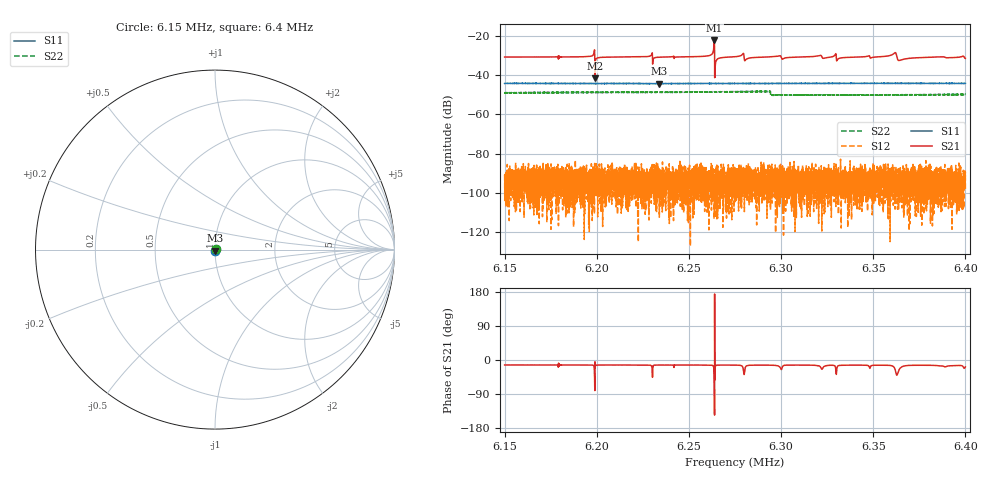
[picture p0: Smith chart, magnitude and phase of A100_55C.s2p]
!CETC41,AV3656A,ZGL00048,1.3.2
!Calibration ON (Full Solt 2-Port(Omit Isolation))
!Measurements: S11 S21 S12 S22
!2025-07-09 22:16
# Hz  S  dB  R 50.000
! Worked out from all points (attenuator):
!   6401 points, 6.15 MHz to 6.4 MHz, reference 50 ohm
!   highest |S21| = -22.40 dB at 6.2638 MHz (marker M1); lowest = -41.6 dB at 6.199 MHz (marker M2)
!   lowest |S11| = -44.4 dB at 6.2339 MHz (marker M3), VSWR 1.01, Z = 50 - j0.601 ohm
!   |S11| at or under -10 dB: start of sweep to end of sweep
!   |S22| runs from -50.3 to -48.2 dB; largest |S21 - S12| = 0.076
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6150000  -44.27 -91.7  -30.84 -13.2  -90.70 7.0  -49.00 38.2
6191680  -44.26 -91.8  -30.70 -13.1  -94.79 -37.9  -48.86 39.5
6197617  -44.25 -91.6  -30.16 -13.5  -90.42 9.6  -48.87 38.9
6198984  -44.27 -91.7  -41.60 -40.1  -99.56 -45.1  -48.77 39.9
6233359  -44.35 -91.4  -30.93 -13.4  -92.54 -126.6  -48.77 39.3
6233867  -44.42 -91.7  -30.90 -13.3  -93.49 103.0  -48.77 38.9
6259063  -44.30 -91.6  -30.38 -13.4  -91.40 123.8  -48.56 38.6
6262656  -44.28 -91.7  -29.20 -14.0  -89.97 27.6  -48.57 38.0
6263789  -44.28 -91.3  -22.40 -74.5  -92.43 -93.7  -48.62 38.7
6265195  -44.28 -91.5  -32.08 -13.9  -113.13 -32.1  -48.60 38.3
6267031  -44.26 -91.5  -31.28 -13.5  -96.26 130.3  -48.49 37.5
6275000  -44.31 -91.6  -30.66 -13.5  -95.62 154.3  -48.53 37.7
6278672  -44.29 -91.2  -29.85 -15.3  -95.54 84.0  -48.39 37.9
6281250  -44.29 -91.6  -31.87 -15.6  -86.68 -102.1  -48.39 38.3
6295547  -44.24 -91.6  -30.65 -13.9  -99.31 -31.3  -50.19 48.3
6316680  -44.24 -91.4  -30.61 -13.7  -92.22 9.2  -50.14 48.4
6328672  -44.23 -91.3  -30.32 -14.2  -96.14 73.4  -50.00 47.3
6331250  -44.24 -91.6  -31.62 -14.7  -95.39 -161.0  -50.22 47.8
6358359  -44.21 -91.1  -30.22 -14.2  -96.59 173.8  -50.06 47.6
6361523  -44.22 -91.0  -28.81 -20.8  -90.41 82.2  -50.00 47.1
6364531  -44.20 -91.4  -32.49 -21.9  -95.57 18.0  -49.99 47.3
6400000  -44.21 -91.2  -31.52 -18.2  -98.13 150.3  -49.83 46.6
